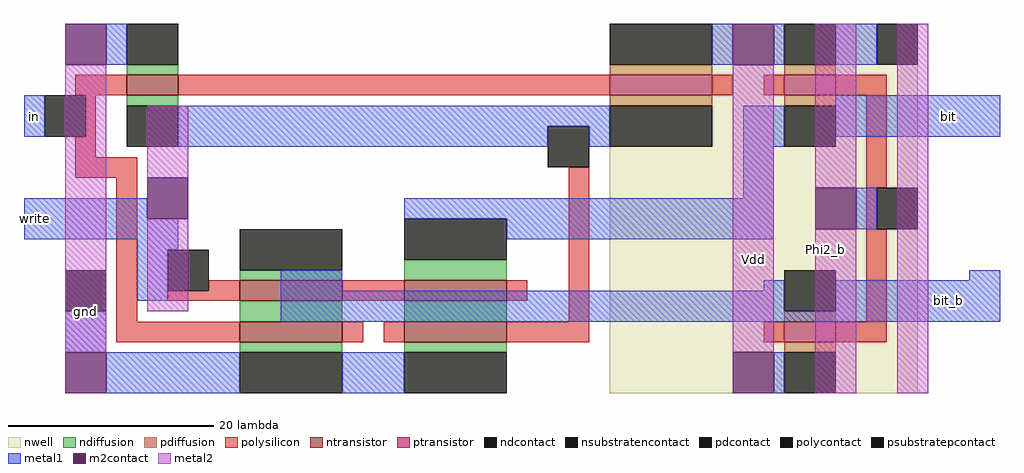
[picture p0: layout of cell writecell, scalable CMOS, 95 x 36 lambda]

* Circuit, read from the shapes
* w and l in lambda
.subckt writecell Phi2_b Vdd bit bit_b gnd in write
M1 gnd in n1 gnd nfet w=5 l=2
M2 n2 in gnd gnd nfet w=10 l=2
M3 bit_b write n2 gnd nfet w=10 l=2
M4 n3 n1 gnd gnd nfet w=10 l=2
M5 bit write n3 gnd nfet w=10 l=2
M6 Vdd in n1 Vdd pfet w=10 l=2
M7 bit_b Phi2_b Vdd Vdd pfet w=5 l=2
M8 Vdd Phi2_b bit Vdd pfet w=5 l=2
.ends

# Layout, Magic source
magic
tech scmos
<< nwell >>
rect 22 6 52 42
<< polysilicon >>
rect -30 35 -25 37
rect -20 35 22 37
rect 32 35 34 37
rect 37 35 39 37
rect 44 35 49 37
rect -29 31 -28 35
rect -30 29 -28 31
rect -30 27 -24 29
rect -26 13 -24 27
rect -17 16 -14 17
rect -21 15 -14 16
rect -4 15 2 17
rect 12 15 14 17
rect 18 13 20 28
rect 47 26 49 35
rect 47 22 48 26
rect 47 13 49 22
rect -26 11 -14 13
rect -4 11 -2 13
rect 0 11 2 13
rect 12 11 20 13
rect 37 11 39 13
rect 44 11 49 13
<< ndiffusion >>
rect -25 37 -20 38
rect -25 34 -20 35
rect -14 17 -4 18
rect 2 17 12 19
rect -14 13 -4 15
rect 2 13 12 15
rect -14 10 -4 11
rect 2 10 12 11
<< pdiffusion >>
rect 22 37 32 38
rect 39 37 44 38
rect 22 34 32 35
rect 39 34 44 35
rect 39 13 44 14
rect 39 10 44 11
<< metal1 >>
rect -27 38 -25 42
rect 32 38 34 42
rect 38 38 39 42
rect 44 38 48 42
rect -35 31 -33 35
rect -20 32 22 34
rect -20 30 16 32
rect 20 30 22 32
rect 35 30 39 34
rect 44 31 60 35
rect -35 23 -23 25
rect 35 25 38 30
rect 2 23 38 25
rect -35 21 -20 23
rect -24 20 -20 21
rect -24 15 -21 20
rect 12 21 38 23
rect 46 22 48 26
rect -10 16 -4 18
rect 37 16 39 17
rect -31 10 -27 14
rect -10 14 39 16
rect 57 17 60 18
rect 44 14 60 17
rect -10 13 60 14
rect -27 6 -14 10
rect -4 6 2 10
rect 38 6 39 10
<< metal2 >>
rect -31 10 -27 38
rect -23 27 -19 34
rect -23 14 -19 23
rect 34 10 38 38
rect 42 26 46 42
rect 42 6 46 22
rect 50 6 53 42
<< ntransistor >>
rect -25 35 -20 37
rect -14 15 -4 17
rect 2 15 12 17
rect -14 11 -4 13
rect 2 11 12 13
<< ptransistor >>
rect 22 35 32 37
rect 39 35 44 37
rect 39 11 44 13
<< polycontact >>
rect -33 31 -29 35
rect 16 28 20 32
rect -21 16 -17 20
rect 48 22 52 26
<< ndcontact >>
rect -25 38 -20 42
rect -25 30 -20 34
rect -14 18 -4 22
rect 2 19 12 23
rect -14 6 -4 10
rect 2 6 12 10
<< pdcontact >>
rect 22 38 32 42
rect 39 38 44 42
rect 22 30 32 34
rect 39 30 44 34
rect 39 14 44 18
rect 39 6 44 10
<< m2contact >>
rect -31 38 -27 42
rect 34 38 38 42
rect -23 23 -19 27
rect 42 22 46 26
rect -31 6 -27 10
rect 34 6 38 10
<< psubstratepcontact >>
rect -31 14 -27 18
<< nsubstratencontact >>
rect 48 38 52 42
<< labels >>
rlabel metal1 55 15 55 15 5 bit_b
rlabel metal1 55 33 55 33 5 bit
rlabel metal1 -34 23 -34 23 7 write
rlabel metal1 -34 33 -34 33 7 in
rlabel metal2 43 20 43 20 1 Phi2_b
rlabel metal2 36 19 36 19 1 Vdd
rlabel metal2 -29 14 -29 14 8 gnd
<< end >>
